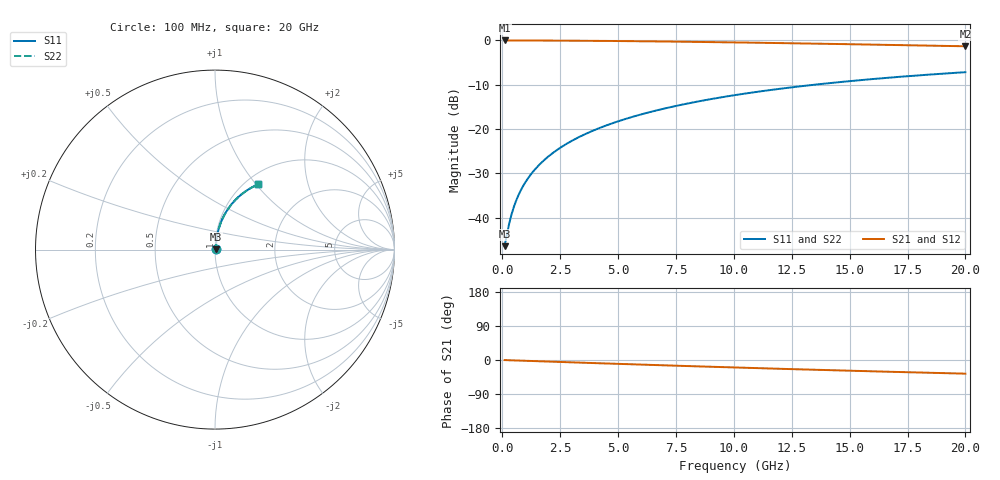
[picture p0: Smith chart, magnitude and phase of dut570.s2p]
! Touchstone file exported from HFSS 2024.1.0
!  File:  C:/UserFiles/LocalFiles/RDL_TSV_Batchsim/temp_RDL_top_570_1779681675.aedt
!  Generated:  12:03:36 PM May 25, 2026
!  Design:  RDL_top
!  Project:  temp_RDL_top_570_1779681675
!  Setup:  Setup1
!  Solution:  Sweep
! Variables:
!  dtsv = 10.80580581um
!  hbump = 3um
!  htsv = 78.76um
!  ldown = 100um
!  lrdl = 411.38um
!  p = 40
!  p1 = 56.25um
!  rhole = 1um
!  t = 450um
!  tdown = 3.915915916um
!  trdl = 2.93um
!  wdown = 15.38538539um
!  wrdl = 12.65um
# GHz S MA R 50.000000
! Terminal data exported
! Port[1] = Box2_T1
! Port[2] = Box2_T2
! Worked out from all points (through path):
!   200 points, 100 MHz to 20 GHz, reference 50 ohm
!   highest |S21| = -0.04 dB at 100 MHz (marker M1); lowest = -1.3 dB at 20 GHz (marker M2)
!   group delay of S21, straight-line fit = 5.01 ps
!   lowest |S11| = -46.4 dB at 100 MHz (marker M3), VSWR 1.01, Z = 50.4 + j0.255 ohm
!   |S11| at or under -10 dB: start of sweep to 13.51 GHz
!   |S22| runs from -46.4 to -7.2 dB; largest |S21 - S12| = 2.7e-15
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0.1  0.004779 32.0  0.9959 -0.2  0.9959 -0.2  0.004779 32.0
! Gamma 0 0 0 0
! Port Impedance 50 0 50 0
0.2  0.006513 50.8  0.9959 -0.4  0.9959 -0.4  0.006513 50.8
0.3  0.008643 60.9  0.9958 -0.6  0.9958 -0.6  0.008643 60.9
0.4  0.01092 66.7  0.9957 -0.8  0.9957 -0.8  0.01092 66.7
0.5  0.01326 70.4  0.9956 -1.1  0.9956 -1.1  0.01326 70.4
0.6  0.01563 72.9  0.9954 -1.3  0.9954 -1.3  0.01563 72.9
0.8  0.0204 76.1  0.9952 -1.7  0.9952 -1.7  0.0204 76.1
1.1  0.02758 78.7  0.9947 -2.3  0.9947 -2.3  0.02758 78.7
1.5  0.0372 80.4  0.994 -3.1  0.994 -3.1  0.0372 80.4
1.8  0.04444 81.1  0.9934 -3.7  0.9934 -3.7  0.04444 81.1
2.1  0.0517 81.4  0.9927 -4.4  0.9927 -4.4  0.0517 81.4
2.7  0.06624 81.6  0.991 -5.6  0.991 -5.6  0.06624 81.6
3.5  0.08568 81.2  0.9882 -7.2  0.9882 -7.2  0.08568 81.2
4.2  0.1027 80.6  0.9852 -8.6  0.9852 -8.6  0.1027 80.5
5  0.1221 79.6  0.9813 -10.2  0.9813 -10.2  0.1221 79.6
5.9  0.1438 78.4  0.9763 -12.0  0.9763 -12.0  0.1438 78.4
6.8  0.1654 77.1  0.9707 -13.7  0.9707 -13.7  0.1654 77.1
8.3  0.2009 74.8  0.9603 -16.6  0.9603 -16.6  0.2009 74.8
10.1  0.2423 71.9  0.9465 -19.9  0.9465 -19.9  0.2423 71.9
13.4  0.314 66.5  0.9182 -25.6  0.9182 -25.6  0.314 66.5
16.7  0.3791 61.3  0.8877 -31.0  0.8877 -31.0  0.379 61.3
20  0.437 56.4  0.8562 -36.0  0.8562 -36.0  0.437 56.3
